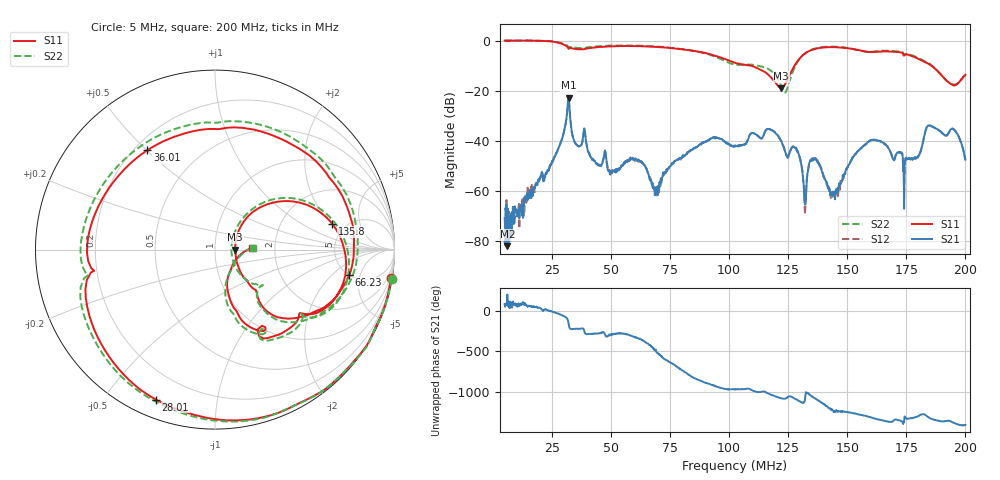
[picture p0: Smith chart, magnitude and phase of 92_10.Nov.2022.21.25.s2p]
!Keysight Technologies N9917A: A.12.46
!Date: Thursday, 10 November 2022 21:25:22
!Timezone: (UTC) Coordinated Universal Time
!Model: N9917A
!Serial: MY56071016
!GPS Latitude:
!GPS Longitude:
!GPS TimeStamp: 0001-01-01 00:00:00Z
!GPS Seconds Since Last Read: 0
!CHECKSUM:1289071637
!Correction: S11(ON U)S21(ON U)S12(ON U)S22(ON U)
!S2P File: Measurements:S11,S21,S12,S22:
# Hz S DB R 50
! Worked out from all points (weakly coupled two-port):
!   1001 points, 5 MHz to 200 MHz, reference 50 ohm
!   highest |S21| = -22.77 dB at 32.1 MHz (marker M1); lowest = -81.9 dB at 6.17 MHz (marker M2)
!   lowest |S11| = -19.0 dB at 122 MHz (marker M3), VSWR 1.25, Z = 62.7 + j0.0494 ohm
!   |S11| at or under -10 dB: 109.1 MHz to 127.7 MHz (18.57 MHz wide, 15.7 % of centre); 185.6 MHz to end of sweep
!   |S22| runs from -20.8 to 0.0 dB; largest |S21 - S12| = 0.0014
!   S11 on the Smith chart (normalised r, x): 5 MHz: 0, -13; 28.01 MHz: 0.08, -0.68; 36.01 MHz: 0.25, +0.50; 66.23 MHz: 5.05, -3.38; 135.8 MHz: 3.95, +2.04; 200 MHz: 1.52, +0.03
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5000000  -0.04 -9.0  -80.12 77.9  -70.22 77.1  0.01 -9.3
6170000  -0.05 -11.6  -81.93 -163.3  -71.49 132.7  -0.01 -11.8
1.9625e7  -0.08 -50.6  -55.16 36.9  -55.90 35.8  -0.09 -50.7
2.801e7  -0.94 -111.5  -42.35 -42.3  -42.44 -41.4  -0.80 -109.9
3.2105e7  -3.31 -170.1  -22.77 -166.4  -22.74 -165.3  -2.85 -168.6
3.6005e7  -3.48 124.2  -41.94 136.1  -41.93 135.4  -2.98 126.7
3.7565e7  -3.48 102.2  -41.35 139.7  -41.56 138.8  -2.99 104.4
4.712e7  -2.47 33.9  -45.53 87.6  -45.33 88.2  -2.16 33.7
6.623e7  -2.37 -10.6  -54.67 -63.4  -54.46 -58.7  -2.20 -12.4
7.013e7  -2.61 -16.7  -57.84 -172.7  -59.26 -174.5  -2.44 -18.5
1.025e8  -8.90 -48.2  -41.74 108.3  -41.95 109.8  -9.58 -44.0
1.22e8  -18.99 0.2  -39.97 2.8  -39.95 2.7  -18.02 -34.7
1.28825e8  -8.38 41.2  -44.36 -18.9  -43.75 -16.6  -8.75 44.8
1.3214e8  -5.16 27.7  -65.30 -15.9  -69.34 12.9  -5.09 29.7
1.35065e8  -3.73 15.4  -47.22 22.8  -48.00 23.2  -3.56 16.0
1.35845e8  -3.48 12.3  -46.98 9.5  -47.63 11.8  -3.29 12.6
1.44035e8  -2.63 -13.5  -60.16 -154.1  -60.39 -154.4  -2.44 -14.8
1.58075e8  -4.46 -36.4  -41.35 143.8  -41.19 143.5  -4.47 -36.6
1.6763e8  -4.36 -45.3  -43.15 71.5  -43.22 72.3  -4.03 -46.0
1.7465e8  -5.56 -57.9  -47.17 121.8  -46.95 121.4  -5.34 -58.7
1.84985e8  -9.60 -72.4  -33.90 118.2  -33.80 117.7  -9.38 -76.3
2e8  -13.64 2.5  -47.44 34.9  -47.59 35.4  -13.51 2.9
